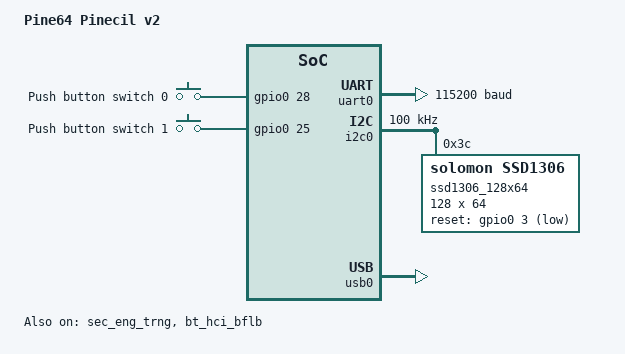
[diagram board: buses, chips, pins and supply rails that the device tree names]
/*
 * Copyright (c) 2026 Canonical Limited
 *
 * SPDX-License-Identifier: Apache-2.0
 */

/dts-v1/;

#include <bflb/bl706.dtsi>
#include <zephyr/dt-bindings/input/input-event-codes.h>
#include "pinecil_v2-pinctrl.dtsi"

/ {
	model = "Pine64 Pinecil v2";
	compatible = "pine64,pinecil-v2";

	chosen {
		zephyr,flash = &flash0;
		zephyr,code-partition = &slot0_partition;
		zephyr,itcm = &itcm;
		zephyr,dtcm = &dtcm;
		zephyr,sram = &sram0_bt;
		zephyr,entropy = &sec_eng_trng;
		zephyr,bt-hci = &bt_hci_bflb;
		zephyr,display = &ssd1306_128x64;
	};

	buttons {
		compatible = "gpio-keys";
		polling-mode;

		button0: button_0 {
			gpios = <&gpio0 28 (GPIO_PULL_DOWN | GPIO_ACTIVE_HIGH)>;
			label = "Push button switch 0";
			zephyr,code = <INPUT_KEY_0>;
		};

		button1: button_1 {
			gpios = <&gpio0 25 (GPIO_PULL_DOWN | GPIO_ACTIVE_HIGH)>;
			label = "Push button switch 1";
			zephyr,code = <INPUT_KEY_1>;
		};
	};

	aliases {
		sw0 = &button0;
		sw1 = &button1;
		watchdog0 = &wdt0;
	};
};

&uart0 {
	status = "okay";
	current-speed = <115200>;

	pinctrl-0 = <&uart0_default>;
	pinctrl-names = "default";
};

&i2c0 {
	status = "okay";
	pinctrl-0 = <&i2c0_default>;
	pinctrl-names = "default";

	clock-frequency = <I2C_BITRATE_STANDARD>;

	ssd1306_128x64: ssd1306@3c {
		compatible = "solomon,ssd1306";
		reg = <0x3c>;
		width = <128>;
		height = <64>;
		segment-offset = <0>;
		page-offset = <0>;
		display-offset = <0>;
		multiplex-ratio = <63>;
		segment-remap;
		com-invdir;
		prechargep = <0x22>;
		reset-gpios = <&gpio0 3 GPIO_ACTIVE_LOW>;
	};
};

&cpu0 {
	clock-frequency = <DT_FREQ_M(144)>;
};

&gpio0 {
	status = "okay";
};

&sec_eng_trng {
	status = "okay";
};

&bt_hci_bflb {
	status = "okay";
};

&flashctrl {
	flash0: flash@23000000 {
		compatible = "soc-nv-flash";
		reg = <0x23000000 DT_SIZE_M(1)>;
		write-block-size = <256>;
		erase-block-size = <DT_SIZE_K(4)>;

		partitions {
			compatible = "fixed-partitions";
			#address-cells = <1>;
			#size-cells = <1>;

			slot0_partition: partition@0 {
				label = "image-0";
				reg = <0x00000000 DT_SIZE_K(992)>;
				read-only;
			};

			storage_partition: partition@f8000 {
				label = "storage";
				reg = <0x003f8000 DT_SIZE_K(32)>;
			};
		};
	};
};

zephyr_udc0: &usb0 {
	status = "okay";

	pinctrl-0 = <&usb_default>;
	pinctrl-names = "default";
};

#include <../boards/common/usb/cdc_acm_serial.dtsi>
